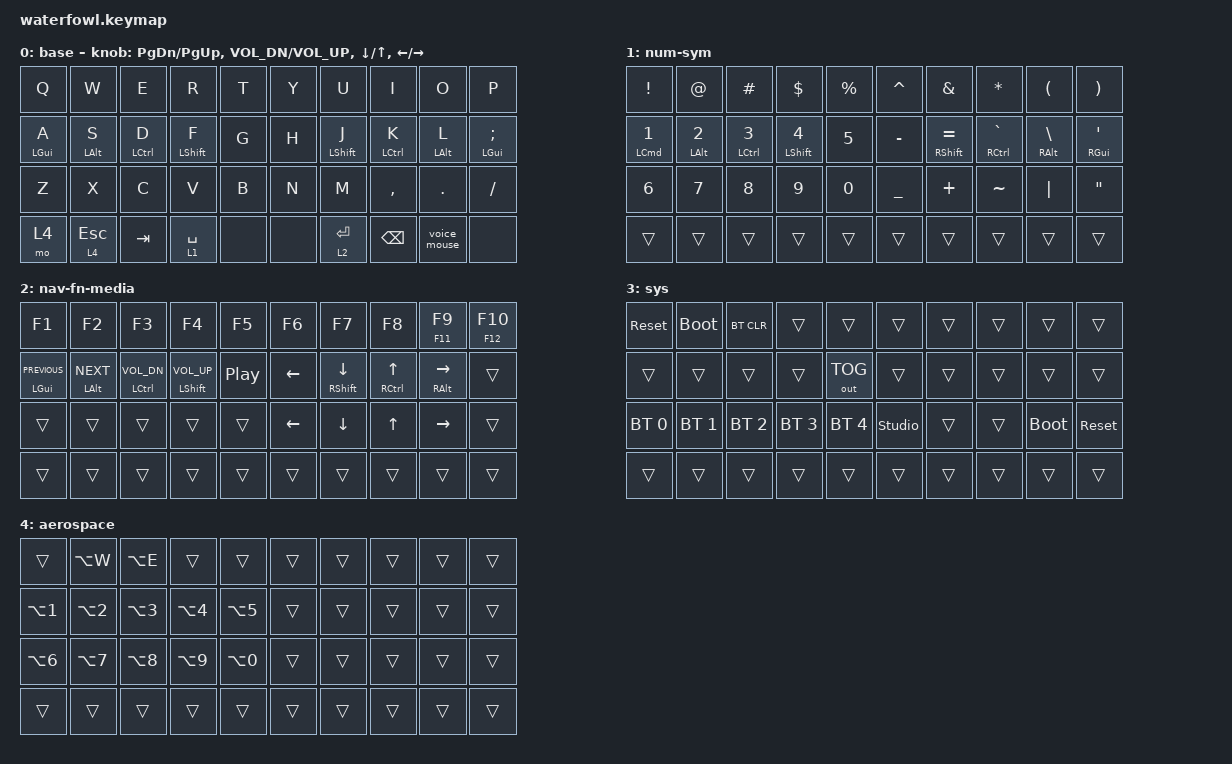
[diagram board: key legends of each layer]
/*
 * Copyright (c) 2022 The ZMK Contributors
 *
 * SPDX-License-Identifier: MIT
 */

#include <behaviors.dtsi>
#include <dt-bindings/zmk/bt.h>
#include <dt-bindings/zmk/keys.h>
#include <dt-bindings/zmk/outputs.h>

/ {
    behaviors {
        hml: hml {
            compatible = "zmk,behavior-hold-tap";
            label = "HML";
            bindings = <&kp>, <&kp>;

            #binding-cells = <2>;
            tapping-term-ms = <250>;
            flavor = "tap-preferred";
            require-prior-idle-ms = <150>;
            quick-tap-ms = <175>;
        };

        hmr: hmr {
            compatible = "zmk,behavior-hold-tap";
            label = "HMR";
            bindings = <&kp>, <&kp>;

            #binding-cells = <2>;
            tapping-term-ms = <250>;
            flavor = "tap-preferred";
            require-prior-idle-ms = <150>;
            quick-tap-ms = <175>;
        };

        voice_mouse: voice_mouse {
            compatible = "zmk,behavior-tap-dance";
            label = "VOICE_MOUSE";
            #binding-cells = <0>;
            bindings = <&kp F13>, <&double_cmd>;
        };
    };

    combos {
        compatible = "zmk,combos";

        l_br {
            bindings = <&kp LEFT_BRACKET>;
            key-positions = <3 4>;
        };

        r_br {
            bindings = <&kp RIGHT_BRACKET>;
            key-positions = <5 6>;
        };

        l_par {
            bindings = <&kp LPAR>;
            key-positions = <13 14>;
        };

        l_brc {
            bindings = <&kp LBRC>;
            key-positions = <23 24>;
        };

        r_par {
            bindings = <&kp RPAR>;
            key-positions = <15 16>;
        };

        r_brc {
            bindings = <&kp RBRC>;
            key-positions = <25 26>;
        };

        studio {
            bindings = <&studio_unlock>;
            key-positions = <34 35>;
        };
    };

    macros {
        double_cmd: double_cmd {
            compatible = "zmk,behavior-macro";
            #binding-cells = <0>;
            bindings = <&kp RCMD &none &kp LCMD>;
            label = "DOUBLE_CMD";
        };
    };

    keymap {
        compatible = "zmk,keymap";

        base {
            /* QWERTY
 *
 * ,----------------------------------.                      ,----------------------------------.
 * |   Q  |   W  |   E  |   R  |   T  |                      |   Y  |   U  |   I  |   O  |   P  |
 * |------+------+------+------+------|                      |------+------+------+------+------|
 * |   A  |   S  |   D  |   F  |   G  |                      |   H  |   J  |   K  |   L  |   ;  |
 * |------+------+------+------+------|  ,-----.    ,-----.  |------+------+------+------+------|
 * |   Z  |   X  |   C  |   V  |   B  |  |  2  |    |  3  |  |   N  |   M  |   ,  |   .  |   /  |
 * `----------------------------------'  `-----'    `-----'  `----------------------------------'
 *          ,-----.   ,--------------------.            ,--------------------.   ,-----.
 *          |  1  |   | DEL | SPACE | TAB  |            |  ESC  | BS | ENTER |   |  4  |
 *          `-----'   `--------------------'            `--------------------'   `-----'
 */

            bindings = <
&kp Q        &kp W         &kp E         &kp R         &kp T    &kp Y  &kp U         &kp I          &kp O         &kp P
&hml LGUI A  &hml LALT S   &hml LCTRL D  &hml LSHFT F  &kp G    &kp H  &hmr LSHFT J  &hmr LCTRL K   &hmr LALT L   &hmr LGUI SEMI
&kp Z        &kp X         &kp C         &kp V         &kp B    &kp N  &kp M         &kp COMMA      &kp DOT       &kp FSLH
&mo 4        &lt 4 ESCAPE  &kp TAB       &lt 1 SPACE   &none    &none  &lt 2 ENTER   &kp BACKSPACE  &voice_mouse  &none
            >;

            sensor-bindings = <
                &inc_dec_kp PAGE_DOWN PAGE_UP
                &inc_dec_kp C_VOL_DN C_VOL_UP
                &inc_dec_kp DOWN UP
                &inc_dec_kp LEFT RIGHT
            >;
        };

        num-sym {
            bindings = <
&kp EXCL      &kp AT        &kp HASH       &kp DOLLAR     &kp PERCENT    &kp CARET  &kp AMPS          &kp STAR          &kp LPAR        &kp RPAR
&hml LCMD N1  &hml LALT N2  &hml LCTRL N3  &hml LSHFT N4  &kp N5         &kp MINUS  &hmr RSHFT EQUAL  &hmr RCTRL GRAVE  &hmr RALT BSLH  &hmr RGUI SQT
&kp N6        &kp N7        &kp N8         &kp N9         &kp N0         &kp UNDER  &kp PLUS          &kp TILDE         &kp PIPE        &kp DOUBLE_QUOTES
&trans        &trans        &trans         &trans         &trans         &trans     &trans            &trans            &trans          &trans
            >;
        };

        nav-fn-media {
            bindings = <
&kp F1                &kp F2            &kp F3               &kp F4               &kp F5      &kp F6    &kp F7           &kp F8         &mt F11 F9       &mt F12 F10
&hml LGUI C_PREVIOUS  &hml LALT C_NEXT  &hml LCTRL C_VOL_DN  &hml LSHFT C_VOL_UP  &kp C_PP    &kp LEFT  &hmr RSHFT DOWN  &hmr RCTRL UP  &hmr RALT RIGHT  &trans
&trans                &trans            &trans               &trans               &trans      &kp LEFT  &kp DOWN         &kp UP         &kp RIGHT        &trans
&trans                &trans            &trans               &trans               &trans      &trans    &trans           &trans         &trans           &trans
            >;
        };

        sys {
            bindings = <
&sys_reset    &bootloader   &bt BT_CLR    &trans        &trans          &trans          &trans  &trans  &trans       &trans
&trans        &trans        &trans        &trans        &out OUT_TOG    &trans          &trans  &trans  &trans       &trans
&bt BT_SEL 0  &bt BT_SEL 1  &bt BT_SEL 2  &bt BT_SEL 3  &bt BT_SEL 4    &studio_unlock  &trans  &trans  &bootloader  &sys_reset
&trans        &trans        &trans        &trans        &trans          &trans          &trans  &trans  &trans       &trans
            >;
        };

        aerospace {
            bindings = <
&trans      &kp LA(W)   &kp LA(E)   &trans      &trans        &trans  &trans  &trans  &trans  &trans
&kp LA(N1)  &kp LA(N2)  &kp LA(N3)  &kp LA(N4)  &kp LA(N5)    &trans  &trans  &trans  &trans  &trans
&kp LA(N6)  &kp LA(N7)  &kp LA(N8)  &kp LA(N9)  &kp LA(N0)    &trans  &trans  &trans  &trans  &trans
&trans      &trans      &trans      &trans      &trans        &trans  &trans  &trans  &trans  &trans
            >;
        };
    };

    conditional_layers {
        compatible = "zmk,conditional-layers";

        sys {
            if-layers = <1 2>;
            then-layer = <3>;
        };
    };
};
